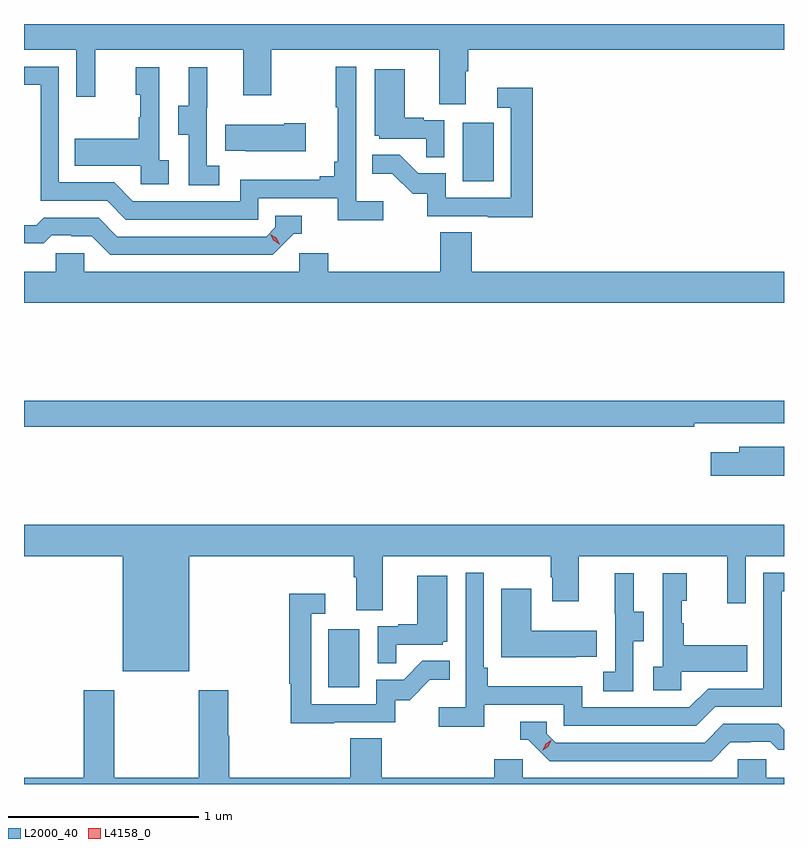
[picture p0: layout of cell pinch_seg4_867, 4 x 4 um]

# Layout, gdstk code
import gdstk
lib = gdstk.Library(unit=1e-6, precision=1e-09)
def R(c, l, rs):  # rectangles x0, y0, x1, y1
    for r in rs: c.add(gdstk.rectangle(r[:2], r[2:], *l))
def P(c, l, *ps):  # polygons
    for p in ps: c.add(gdstk.Polygon(p, *l))
L2000_40 = (2000, 40)
L4158_0 = (4158, 0)

pinch_seg4_867 = lib.new_cell('pinch_seg4_867')
R(pinch_seg4_867, L2000_40, [(851.3,797.46,851.464,797.767), (852.008,800.124,852.172,800.431)])
P(pinch_seg4_867, L2000_40, [(852.025,800.704),(852.038,800.704),(852.038,800.816),(853.699,800.816),(853.699,800.952),(849.699,800.952),(849.699,800.816),(849.975,800.816),(849.975,800.568),(850.073,800.568),(850.073,800.816),(850.853,800.816),(850.853,800.577),(851.001,800.577),(851.001,800.816),(851.885,800.816),(851.885,800.53),(852.025,800.53)],
  [(851.59,800.02),(851.448,800.02),(851.448,800.728),(851.34,800.728),(851.34,800.515),(851.351,800.515),(851.351,800.227),(851.332,800.227),(851.332,800.15),(851.255,800.15),(851.255,800.131),(850.836,800.131),(850.836,800.019),(850.272,800.019),(850.173,800.118),(849.882,800.118),(849.882,800.727),(849.699,800.727),(849.699,800.631),(849.786,800.631),(849.786,800.022),(850.136,800.022),(850.235,799.923),(850.932,799.923),(850.932,800.034),(851.351,800.034),(851.351,799.918),(851.59,799.918)],
  [(850.462,800.234),(850.41,800.234),(850.41,800.725),(850.286,800.725),(850.286,800.58),(850.312,800.58),(850.312,800.462),(850.302,800.462),(850.302,800.347),(849.967,800.347),(849.967,800.207),(850.314,800.207),(850.314,800.109),(850.462,800.109)],
  [(850.726,800.207),(850.662,800.207),(850.662,800.511),(850.664,800.511),(850.664,800.725),(850.565,800.725),(850.565,800.523),(850.511,800.523),(850.511,800.368),(850.566,800.368),(850.566,800.104),(850.726,800.104)],
  [(851.91,800.445),(851.804,800.445),(851.804,800.458),(851.704,800.458),(851.704,800.713),(851.546,800.713),(851.546,800.364),(851.568,800.364),(851.568,800.349),(851.815,800.349),(851.815,800.251),(851.91,800.251)],
  [(852.377,800.617),(852.189,800.617),(852.189,800.511),(852.261,800.511),(852.261,800.037),(851.919,800.037),(851.919,800.166),(851.775,800.166),(851.677,800.264),(851.533,800.264),(851.533,800.165),(851.637,800.165),(851.744,800.058),(851.821,800.058),(851.821,799.941),(852.139,799.941),(852.139,799.936),(852.377,799.936)],
  [(851.182,800.43),(851.069,800.43),(851.069,800.422),(850.759,800.422),(850.759,800.285),(850.867,800.285),(850.867,800.282),(851.182,800.282)],
  [(851.118,799.848),(851.161,799.848),(851.161,799.944),(851.022,799.944),(851.022,799.881),(850.974,799.833),(850.191,799.833),(850.092,799.932),(849.803,799.932),(849.764,799.893),(849.699,799.893),(849.699,799.797),(849.803,799.797),(849.845,799.839),(849.948,799.839),(849.948,799.836),(850.055,799.836),(850.154,799.737),(851.007,799.737)],
  [(853.699,799.648),(852.056,799.648),(852.056,799.856),(851.891,799.856),(851.891,799.648),(851.3,799.648),(851.3,799.746),(851.148,799.746),(851.148,799.648),(850.017,799.648),(850.017,799.746),(849.867,799.746),(849.867,799.648),(849.699,799.648),(849.699,799.484),(853.699,799.484)],
  [(853.226,798.852),(853.699,798.852),(853.699,798.968),(849.699,798.968),(849.699,798.832),(853.226,798.832)],
  [(853.699,798.726),(853.463,798.726),(853.463,798.697),(853.314,798.697),(853.314,798.575),(853.699,798.575)],
  [(850.57,798.152),(851.435,798.152),(851.435,798.04),(851.447,798.04),(851.447,797.866),(851.587,797.866),(851.587,798.152),(852.472,798.152),(852.472,798.041),(852.479,798.041),(852.479,797.913),(852.619,797.913),(852.619,798.152),(853.4,798.152),(853.4,797.904),(853.497,797.904),(853.497,798.152),(853.699,798.152),(853.699,798.316),(849.699,798.316),(849.699,798.152),(850.22,798.152),(850.22,797.546),(850.57,797.546)],
  [(852.122,797.37),(852.54,797.37),(852.54,797.259),(853.237,797.259),(853.336,797.358),(853.686,797.358),(853.686,797.967),(853.699,797.967),(853.699,798.063),(853.59,798.063),(853.59,797.454),(853.299,797.454),(853.2,797.355),(852.636,797.355),(852.636,797.467),(852.14,797.467),(852.14,797.563),(852.12,797.563),(852.12,798.064),(852.024,798.064),(852.024,797.356),(851.883,797.356),(851.883,797.254),(852.122,797.254)],
  [(852.906,797.704),(852.961,797.704),(852.961,797.859),(852.907,797.859),(852.907,798.061),(852.809,798.061),(852.809,797.847),(852.81,797.847),(852.81,797.543),(852.747,797.543),(852.747,797.44),(852.906,797.44)],
  [(853.158,797.543),(853.505,797.543),(853.505,797.683),(853.171,797.683),(853.171,797.798),(853.161,797.798),(853.161,797.916),(853.186,797.916),(853.186,798.061),(853.062,798.061),(853.062,797.57),(853.011,797.57),(853.011,797.445),(853.158,797.445)],
  [(851.657,797.685),(851.904,797.685),(851.904,797.7),(851.926,797.7),(851.926,798.049),(851.768,798.049),(851.768,797.794),(851.669,797.794),(851.669,797.781),(851.562,797.781),(851.562,797.587),(851.657,797.587)],
  [(852.605,797.621),(852.713,797.621),(852.713,797.758),(852.37,797.758),(852.37,797.98),(852.212,797.98),(852.212,797.618),(852.605,797.618)],
  [(851.333,797.277),(851.652,797.277),(851.652,797.394),(851.728,797.394),(851.835,797.501),(851.939,797.501),(851.939,797.6),(851.795,797.6),(851.697,797.502),(851.553,797.502),(851.553,797.373),(851.211,797.373),(851.211,797.847),(851.284,797.847),(851.284,797.953),(851.095,797.953),(851.095,797.48),(851.103,797.48),(851.103,797.272),(851.333,797.272)],
  [(853.699,796.984),(853.605,796.984),(853.605,797.082),(853.455,797.082),(853.455,796.984),(852.324,796.984),(852.324,797.082),(852.173,797.082),(852.173,796.984),(851.582,796.984),(851.582,797.192),(851.417,797.192),(851.417,796.984),(850.778,796.984),(850.778,797.207),(850.773,797.207),(850.773,797.446),(850.618,797.446),(850.618,796.984),(850.173,796.984),(850.173,797.446),(850.013,797.446),(850.013,796.984),(849.699,796.984),(849.699,796.952),(853.699,796.952)],
  [(853.417,797.172),(853.524,797.172),(853.524,797.175),(853.627,797.175),(853.669,797.133),(853.699,797.133),(853.699,797.238),(853.669,797.268),(853.38,797.268),(853.281,797.169),(852.498,797.169),(852.45,797.217),(852.45,797.28),(852.311,797.28),(852.311,797.184),(852.354,797.184),(852.465,797.073),(853.318,797.073)])
P(pinch_seg4_867, L4158_0, [(852.428,797.13),(852.428,797.13),(852.444,797.163),(852.475,797.182),(852.475,797.182),(852.475,797.182),(852.459,797.149),(852.428,797.13)],
  [(851.043,799.793),(851.012,799.813),(850.996,799.845),(850.996,799.846),(850.996,799.846),(851.027,799.826),(851.044,799.793),(851.044,799.793)])

lib.write_gds('pinch_seg4_867.gds')
